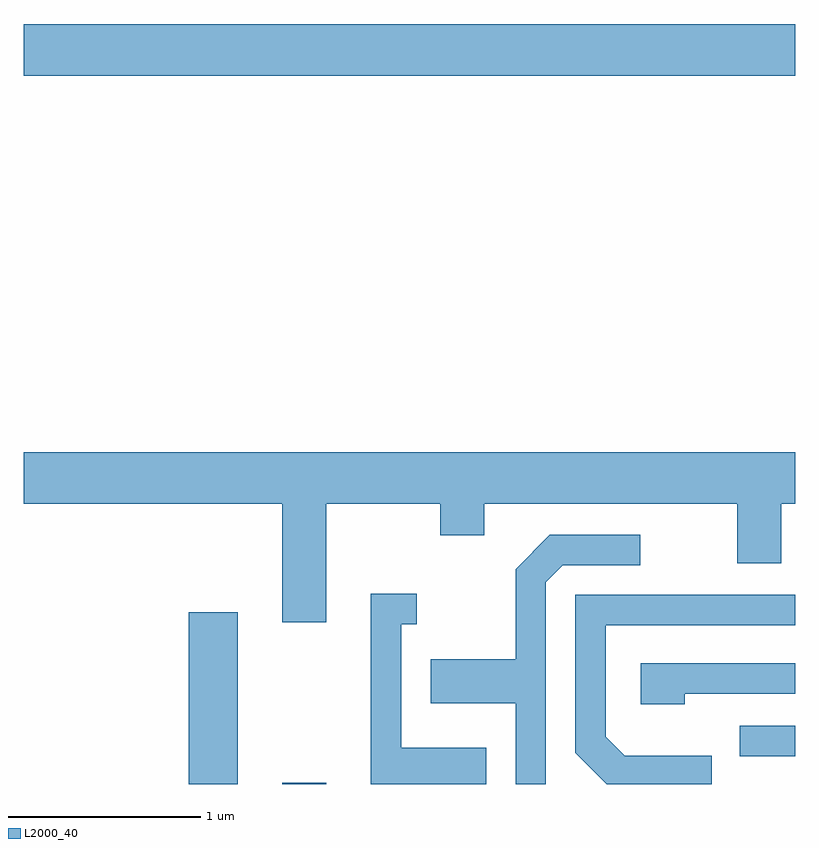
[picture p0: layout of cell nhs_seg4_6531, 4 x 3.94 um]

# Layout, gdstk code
import gdstk
lib = gdstk.Library(unit=1e-6, precision=1e-09)
def R(c, l, rs):  # rectangles x0, y0, x1, y1
    for r in rs: c.add(gdstk.rectangle(r[:2], r[2:], *l))
def P(c, l, *ps):  # polygons
    for p in ps: c.add(gdstk.Polygon(p, *l))
L2000_40 = (2000, 40)

nhs_seg4_6531 = lib.new_cell('nhs_seg4_6531')
R(nhs_seg4_6531, L2000_40, [(378.466,1259.982,378.719,1260.874), (378.951,1259.982,379.179,1259.989), (381.323,1260.126,381.611,1260.284), (377.611,1263.656,381.611,1263.924)])
P(nhs_seg4_6531, L2000_40, [(379.179,1261.436),(379.771,1261.436),(379.771,1261.271),(379.999,1261.271),(379.999,1261.436),(381.311,1261.436),(381.311,1261.126),(381.539,1261.126),(381.539,1261.436),(381.611,1261.436),(381.611,1261.704),(377.611,1261.704),(377.611,1261.436),(378.951,1261.436),(378.951,1260.821),(379.179,1260.821)],
  [(380.319,1261.029),(380.407,1261.116),(380.808,1261.116),(380.808,1261.274),(380.339,1261.274),(380.161,1261.097),(380.161,1260.629),(379.721,1260.629),(379.721,1260.401),(380.161,1260.401),(380.161,1259.982),(380.319,1259.982)],
  [(380.009,1260.169),(379.569,1260.169),(379.569,1260.811),(379.648,1260.811),(379.648,1260.969),(379.411,1260.969),(379.411,1259.982),(380.009,1259.982)],
  [(381.179,1260.129),(380.727,1260.129),(380.629,1260.227),(380.629,1260.806),(381.611,1260.806),(381.611,1260.964),(380.471,1260.964),(380.471,1260.144),(380.633,1259.982),(381.179,1259.982)],
  [(381.039,1260.451),(381.611,1260.451),(381.611,1260.609),(380.811,1260.609),(380.811,1260.396),(381.039,1260.396)])

lib.write_gds('nhs_seg4_6531.gds')
